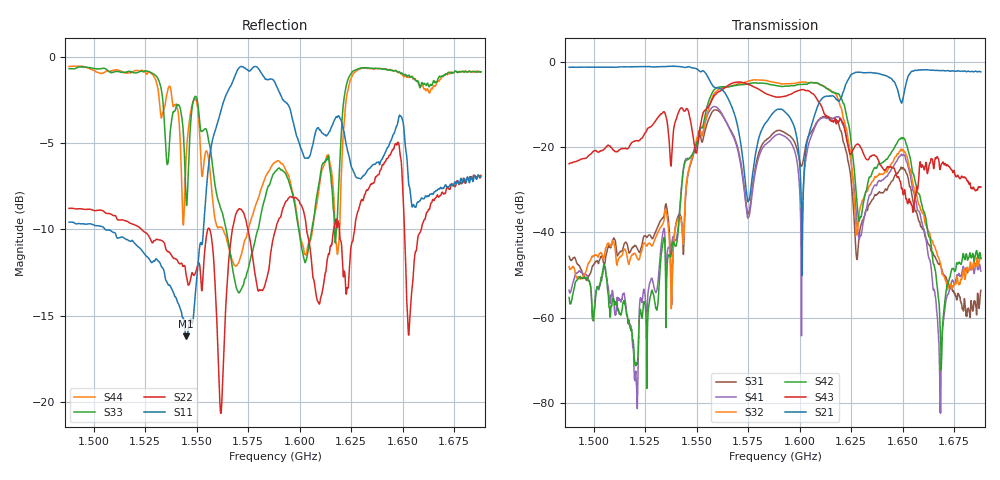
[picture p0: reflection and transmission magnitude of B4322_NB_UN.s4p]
! Matrix data file written by TouchstoneData, EPCOS AG
! FILENAME: "ansys_B4322_02_NB.s4p"
! COMMENT: "(B4322_02_NB.s4p) Epcos AG 2/21/2013 5:13:41"
! INFO: nport=4, nfreq=1601
! DATE: "Tue Mar 19 16:50:57 2013"
! USER: "Daniel Harbusch"
! port | pin | signal
!  1  |  3  |  NON-GPS/GLONASS out
!  2  |  6  |  ANT input
!  3  |  1  |  GPS/GLONASS balanced out
!  4  |  8  |  GPS/GLONASS balanced out
# MHZ S MA R 50
! freq  magS11 angS11  magS12 angS12  magS13 angS13  magS14 angS14  ...
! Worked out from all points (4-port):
!   1601 points, 1.488 GHz to 1.688 GHz, reference 50 ohm
!   strongest paths, dB at 1.488 GHz, 1.538 GHz, 1.588 GHz, 1.638 GHz, 1.688 GHz:
!     S21: -1.3, -1.0, -11.5, -2.7, -2.3
!     S43: -23.9, -20.8, -8.2, -22.8, -29.3
!     S42: -55.2, -43.5, -5.5, -24.1, -46.1
!     S32: -48.0, -51.2, -4.8, -26.6, -46.2
!     S41: -53.5, -42.1, -17.3, -28.1, -49.1
!     S31: -45.6, -53.3, -16.4, -30.8, -53.6
!   lowest |S11| = -16.2 dB at 1.545 GHz (marker M1), VSWR 1.37, Z = 37 - j3.75 ohm
!   |S11| at or under -10 dB: 1.505 GHz to 1.553 GHz (47.83 MHz wide, 3.13 % of centre)
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1488  0.3316 -66.9  0.8677 -1.8  0.005226 9.8  0.002128 82.3
      0.8654 -1.6  0.3637 -123.2  0.003961 44.1  0.001708 43.1
      0.005244 10.4  0.003964 44.0  0.9234 -114.2  0.0638 145.3
      0.002102 82.5  0.00173 43.6  0.06385 145.2  0.937 -110.9
1520.5  0.2854 -84.2  0.8843 -14.4  0.006931 -7.3  0.0001767 125.9
        0.8818 -14.1  0.3245 -130.9  0.005397 24.0  0.0002926 69.9
        0.006944 -7.2  0.00542 23.7  0.8981 -131.8  0.1191 129.5
        0.0001954 124.8  0.0002775 68.3  0.1192 129.4  0.9128 -129.4
1544.625  0.1548 -161.4  0.8665 -38.9  0.02754 21.5  0.07276 -176.6
          0.8634 -38.8  0.2374 -131.5  0.03067 43.9  0.06935 -153.7
          0.02749 21.8  0.03076 44.0  0.4097 -165.1  0.2733 42.2
          0.07268 -176.4  0.0695 -153.7  0.2733 42.2  0.4802 -133.9
1608.125  0.615 26.0  0.2772 95.4  0.1928 19.1  0.188 -144.7
          0.2765 95.5  0.2017 -133.8  0.5652 -74.4  0.5657 107.2
          0.1932 19.3  0.567 -74.5  0.3893 47.3  0.3763 39.0
          0.1883 -144.5  0.5672 107.2  0.3762 39.0  0.3691 54.0
1651.25  0.5555 -74.7  0.5062 65.9  0.05366 -176.4  0.07693 6.1
         0.5051 66.0  0.2768 137.8  0.08617 128.6  0.1195 -50.3
         0.0537 -176.2  0.08641 128.6  0.8891 -60.3  0.02878 36.1
         0.07689 6.2  0.1198 -50.2  0.02882 36.1  0.8825 -55.3
1668.25  0.417 -50.4  0.7914 29.9  0.004153 61.1  8.712e-05 -134.3
         0.7894 30.1  0.3962 -70.2  0.00437 64.6  0.000724 -102.7
         0.004176 61.2  0.004401 64.6  0.8748 -63.4  0.05544 58.1
         9.962e-05 -126.5  0.0007326 -102.8  0.0554 57.9  0.86 -57.2
1688  0.449 -51.3  0.766 21.9  0.002099 86.1  0.003523 86.7
      0.7639 22.1  0.4533 -82.6  0.004887 113.5  0.004955 23.6
      0.002095 86.8  0.004914 113.5  0.9043 -71.9  0.03426 46.3
      0.003518 87.2  0.004977 23.4  0.03422 46.5  0.9034 -67.3
